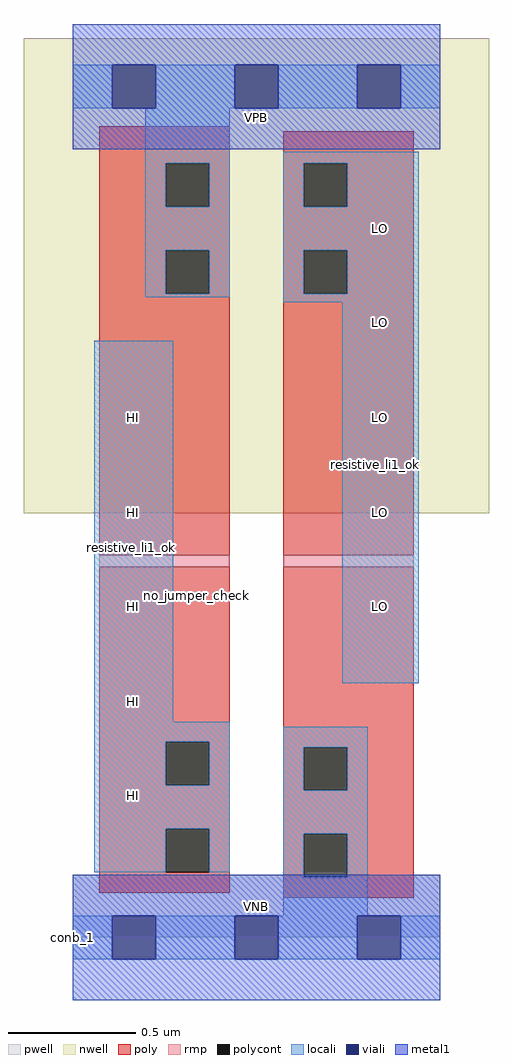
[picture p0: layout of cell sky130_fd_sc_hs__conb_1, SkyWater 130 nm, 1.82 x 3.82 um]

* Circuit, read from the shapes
.subckt sky130_fd_sc_hs__conb_1 VGND VNB VPB VPWR HI LO
R1 VPWR HI sky130_fd_pr__res_generic_po w=0.51 l=0.045
R2 LO VGND sky130_fd_pr__res_generic_po w=0.51 l=0.045
.ends

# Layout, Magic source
magic
tech sky130A
magscale 1 2
<< nwell >>
rect -38 332 326 704
<< pwell >>
rect 0 0 288 49
<< poly >>
rect 21 606 123 635
rect 21 572 73 606
rect 107 572 123 606
rect 21 538 123 572
rect 21 504 73 538
rect 107 504 123 538
rect 21 299 123 504
rect 21 153 123 290
rect 21 119 73 153
rect 107 119 123 153
rect 21 85 123 119
rect 21 51 73 85
rect 107 51 123 85
rect 21 35 123 51
rect 165 606 267 631
rect 165 572 181 606
rect 215 572 267 606
rect 165 538 267 572
rect 165 504 181 538
rect 215 504 267 538
rect 165 299 267 504
rect 165 149 267 290
rect 165 115 181 149
rect 215 115 267 149
rect 165 81 267 115
rect 165 47 181 81
rect 215 47 267 81
rect 165 31 267 47
<< polycont >>
rect 73 572 107 606
rect 73 504 107 538
rect 73 119 107 153
rect 73 51 107 85
rect 181 572 215 606
rect 181 504 215 538
rect 181 115 215 149
rect 181 47 215 81
<< rmp >>
rect 21 290 123 299
rect 165 290 267 299
<< locali >>
rect 0 649 31 683
rect 65 649 127 683
rect 161 649 223 683
rect 257 649 288 683
rect 57 606 123 649
rect 57 572 73 606
rect 107 572 123 606
rect 57 538 123 572
rect 57 504 73 538
rect 107 504 123 538
rect 57 501 123 504
rect 165 606 271 615
rect 165 572 181 606
rect 215 572 271 606
rect 165 538 271 572
rect 165 504 181 538
rect 215 504 271 538
rect 165 497 271 504
rect 17 169 79 467
rect 211 199 271 497
rect 17 153 123 169
rect 17 119 73 153
rect 107 119 123 153
rect 17 85 123 119
rect 17 51 73 85
rect 107 51 123 85
rect 165 149 231 165
rect 165 115 181 149
rect 215 115 231 149
rect 165 81 231 115
rect 165 47 181 81
rect 215 47 231 81
rect 165 17 231 47
rect 0 -17 31 17
rect 65 -17 127 17
rect 161 -17 223 17
rect 257 -17 288 17
<< viali >>
rect 31 649 65 683
rect 127 649 161 683
rect 223 649 257 683
rect 31 -17 65 17
rect 127 -17 161 17
rect 223 -17 257 17
<< metal1 >>
rect 0 683 288 715
rect 0 649 31 683
rect 65 649 127 683
rect 161 649 223 683
rect 257 649 288 683
rect 0 617 288 649
rect 0 17 288 49
rect 0 -17 31 17
rect 65 -17 127 17
rect 161 -17 223 17
rect 257 -17 288 17
rect 0 -49 288 -17
<< labels >>
flabel comment s 237 370 237 370 0 FreeSans 200 90 0 0 resistive_li1_ok
flabel comment s 46 305 46 305 0 FreeSans 200 90 0 0 resistive_li1_ok
flabel comment s 97 268 97 268 0 FreeSans 200 90 0 0 no_jumper_check
flabel comment s 179 268 179 268 0 FreeSans 200 90 0 0 no_jumper_check
rlabel comment s 0 0 0 0 4 conb_1
flabel pwell s 0 0 288 49 0 FreeSans 200 0 0 0 VNB
port 2 nsew ground bidirectional
flabel nwell s 0 617 288 666 0 FreeSans 200 0 0 0 VPB
port 3 nsew power bidirectional
flabel metal1 s 0 617 288 666 0 FreeSans 340 0 0 0 VPWR
port 4 nsew power bidirectional
flabel metal1 s 0 0 288 49 0 FreeSans 340 0 0 0 VGND
port 1 nsew ground bidirectional
flabel locali s 223 316 257 350 0 FreeSans 340 0 0 0 LO
port 6 nsew signal output
flabel locali s 223 390 257 424 0 FreeSans 340 0 0 0 LO
port 6 nsew signal output
flabel locali s 223 464 257 498 0 FreeSans 340 0 0 0 LO
port 6 nsew signal output
flabel locali s 223 538 257 572 0 FreeSans 340 0 0 0 LO
port 6 nsew signal output
flabel locali s 31 242 65 276 0 FreeSans 340 0 0 0 HI
port 5 nsew signal output
flabel locali s 31 316 65 350 0 FreeSans 340 0 0 0 HI
port 5 nsew signal output
flabel locali s 31 390 65 424 0 FreeSans 340 0 0 0 HI
port 5 nsew signal output
flabel locali s 31 94 65 128 0 FreeSans 340 0 0 0 HI
port 5 nsew signal output
flabel locali s 31 168 65 202 0 FreeSans 340 0 0 0 HI
port 5 nsew signal output
flabel locali s 223 242 257 276 0 FreeSans 340 0 0 0 LO
port 6 nsew signal output
<< properties >>
string LEFsite unit
string LEFclass CORE
string FIXED_BBOX 0 0 288 666
string GDS_FILE $PDKPATH/libs.ref/sky130_fd_sc_hs/gds/sky130_fd_sc_hs.gds
string LEFsymmetry X Y
string GDS_END 306118
string GDS_START 301774
<< end >>
